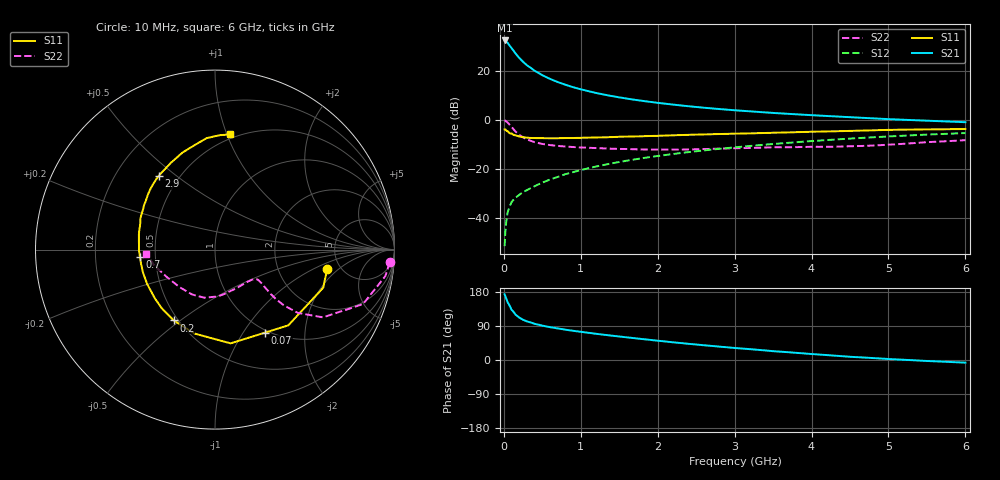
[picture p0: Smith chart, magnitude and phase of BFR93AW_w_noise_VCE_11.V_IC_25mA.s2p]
! Infineon Technologies  Discrete & RF Semiconductors
! BFR93AW
! VCE =  11. V,  IC =  25 mA
! Common Emitter S-Parameters:  Jan 2017
# GHz  S  MA  R  50
!  f  S11  S21  S12  S22
! GHz  MAG  ANG  MAG  ANG  MAG  ANG  MAG  ANG
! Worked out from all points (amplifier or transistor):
!   77 points, 10 MHz to 6 GHz, reference 50 ohm
!   highest |S21| = 32.5 dB at 10 MHz (marker M1)
!   |S21| within 3 dB of that: start of sweep to 97.33 MHz
!   unconditionally stable (mu >= 1): 648.8 MHz to 2.078 GHz
!   at 130 MHz: K = 0.46, MSG = 30.3 dB, |S12| = -32.6 dB
!   at 2.2 GHz: K = 0.99, MSG = 10.1 dB, |S12| = -14.0 dB
!   at 6 GHz: K = 0.86, MSG = 2.2 dB, |S12| = -5.4 dB
!   lowest NFmin = 1.66 dB at 450 MHz
!   S11 on the Smith chart (normalised r, x): 10 MHz: 3.95, -1.40; 70 MHz: 0.97, -1.26; 200 MHz: 0.47, -0.47; 700 MHz: 0.41, -0.04; 2.9 GHz: 0.39, +0.43; 6 GHz: 0.46, +1.03
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0.01  0.6345 -9.6  42.01 173.3  0.0026 80.2  0.9764 -4.2
0.02  0.6392 -19.4  41.83 167.8  0.0052 76.4  0.9606 -8.8
0.05  0.5873 -45.9  37.51 151.9  0.0129 71.9  0.8788 -20.2
0.07  0.5404 -58.8  33.83 145.3  0.016 67.2  0.8075 -24.4
0.1  0.5297 -80.5  29.4 132.5  0.0207 62.8  0.7105 -32.1
0.15  0.4814 -103.8  22.97 120.2  0.0254 57.7  0.58 -37.4
0.2  0.4568 -120.2  18.47 112.0  0.0291 58.9  0.4937 -39.0
0.25  0.4414 -132.2  15.37 106.1  0.0333 58.1  0.4374 -39.1
0.3  0.4315 -140.9  13.06 101.9  0.0364 60.3  0.3962 -38.5
0.4  0.4239 -153.3  10.09 95.4  0.0438 63.3  0.3486 -37.1
0.5  0.4211 -162.3  8.165 90.7  0.0519 64.8  0.3207 -35.9
0.6  0.4197 -169.4  6.876 86.7  0.06 66.2  0.3043 -35.4
0.7  0.42 -174.5  5.924 83.3  0.0678 67.9  0.2921 -35.1
0.9  0.4244 176.3  4.647 77.1  0.085 68.9  0.2774 -36.3
1.1  0.4318 169.3  3.849 71.8  0.1021 69.3  0.268 -38.5
1.5  0.45 157.7  2.877 62.0  0.1371 68.2  0.2539 -45.8
2.1  0.4759 143.2  2.134 48.9  0.1907 64.8  0.2454 -62.0
2.9  0.5159 127.5  1.614 33.6  0.2639 58.8  0.2595 -86.3
3.1  0.524 123.7  1.529 30.2  0.2824 57.0  0.2635 -92.0
4.1  0.5739 107.0  1.22 14.4  0.3762 47.4  0.2801 -120.2
5.1  0.625 93.0  1.017 1.6  0.4647 36.7  0.3161 -154.0
6  0.648 82.4  0.893 -7.0  0.5359 26.5  0.3833 -176.7
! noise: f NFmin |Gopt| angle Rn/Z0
0.45  1.66  0.17  171  0.16
0.9  1.93  0.25  -177  0.16
1.9  2.93  0.49  -136  0.25
2.4  3.59  0.55  -125  0.5
